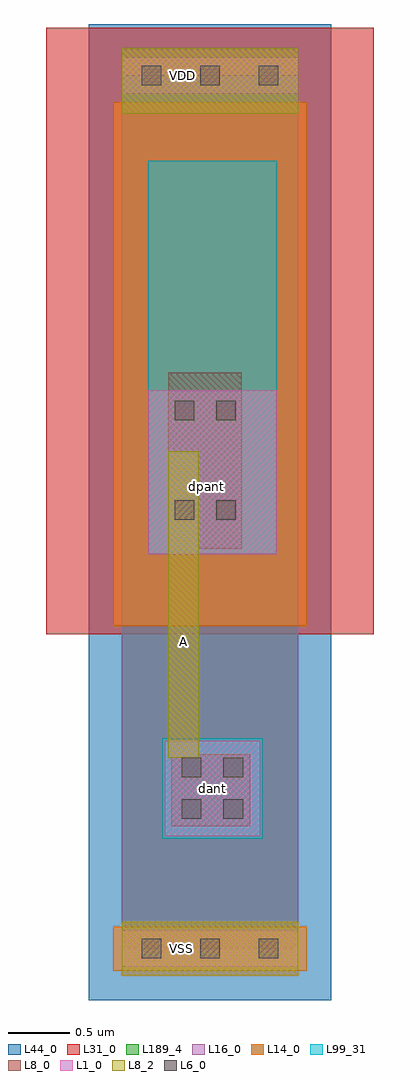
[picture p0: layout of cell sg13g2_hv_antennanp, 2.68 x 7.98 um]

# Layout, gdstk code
import gdstk
lib = gdstk.Library(unit=1e-6, precision=5e-09)
def R(c, l, rs):  # rectangles x0, y0, x1, y1
    for r in rs: c.add(gdstk.rectangle(r[:2], r[2:], *l))
def A(c, l, x, y, w, h, nx, ny, dx, dy):  # array of equal rectangles
    R(c, l, [(x+i*dx, y+j*dy, x+i*dx+w, y+j*dy+h) for i in range(nx) for j in range(ny)])
def P(c, l, *ps):  # polygons
    for p in ps: c.add(gdstk.Polygon(p, *l))
L1_0 = (1, 0)
L6_0 = (6, 0)
L8_0 = (8, 0)
L8_2 = (8, 2)
L14_0 = (14, 0)
L16_0 = (16, 0)
L31_0 = (31, 0)
L44_0 = (44, 0)
L99_31 = (99, 31)
L189_4 = (189, 4)

sg13g2_hv_antennanp = lib.new_cell('sg13g2_hv_antennanp')
R(sg13g2_hv_antennanp, L1_0, [(0,-0.15,1.44,0.15), (0.35,0.92,1.13,1.7), (0.215,3.225,1.265,4.565), (0,6.99,1.44,7.29)])
A(sg13g2_hv_antennanp, L6_0, 0.16, -0.08, 0.16, 0.16, 3, 2, 0.48, 7.14)
R(sg13g2_hv_antennanp, L6_0, [(0.49,1.06,0.65,1.22), (0.83,1.06,0.99,1.22), (0.49,1.4,0.65,1.56), (0.83,1.4,0.99,1.56), (0.43,3.505,0.59,3.665), (0.77,3.505,0.93,3.665), (0.43,4.32,0.59,4.48), (0.77,4.32,0.93,4.48)])
R(sg13g2_hv_antennanp, L8_0, [(0,-0.22,1.44,0.22), (0.38,3.27,0.98,4.71), (0,6.825,1.44,7.36)])
P(sg13g2_hv_antennanp, L8_0, [(0.405,1),(0.405,1.56),(0.38,1.56),(0.38,4.065),(0.63,4.065),(0.63,1.59),(1.05,1.59),(1.05,1)])
R(sg13g2_hv_antennanp, L8_2, [(0,-0.22,1.44,0.22), (0.38,1.56,0.63,4.065), (0,6.825,1.44,7.36)])
R(sg13g2_hv_antennanp, L14_0, [(-0.07,-0.18,1.51,0.18), (-0.07,2.635,1.51,6.92)])
R(sg13g2_hv_antennanp, L16_0, [(0,0,1.44,7.14)])
R(sg13g2_hv_antennanp, L31_0, [(-0.62,2.57,2.06,7.53)])
R(sg13g2_hv_antennanp, L44_0, [(-0.27,-0.42,1.71,7.56)])
R(sg13g2_hv_antennanp, L99_31, [(0.33,0.9,1.15,1.72), (0.215,3.225,1.265,6.44)])
R(sg13g2_hv_antennanp, L189_4, [(0,0,1.44,7.14)])
sg13g2_hv_antennanp.add(gdstk.Label('A', (0.505,2.515), layer=8, texttype=25))
sg13g2_hv_antennanp.add(gdstk.Label('VSS', (0.49,0), layer=8, texttype=25))
sg13g2_hv_antennanp.add(gdstk.Label('VDD', (0.495,7.14), layer=8, texttype=25))
sg13g2_hv_antennanp.add(gdstk.Label('dpant', (0.695,3.775), layer=63, texttype=0))
sg13g2_hv_antennanp.add(gdstk.Label('dant', (0.74,1.31), layer=63, texttype=0))

lib.write_gds('sg13g2_hv_antennanp.gds')
